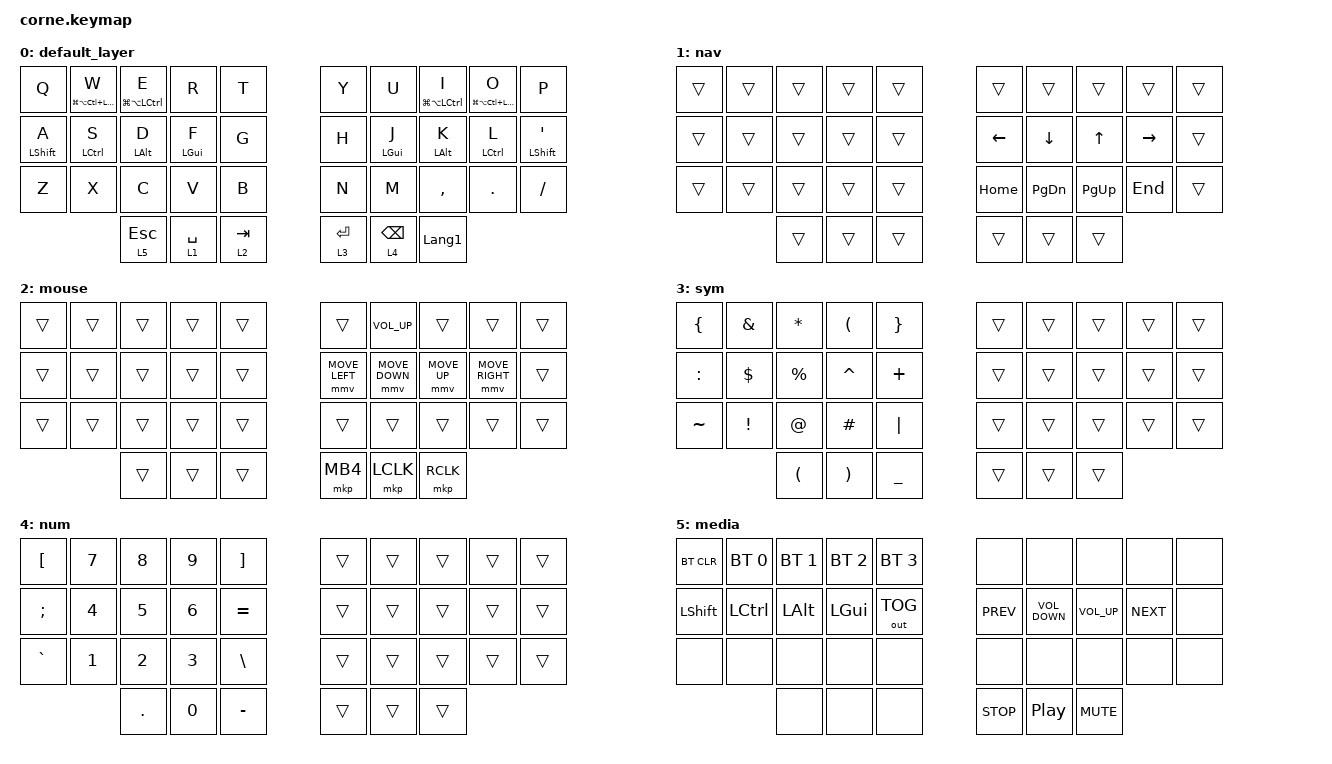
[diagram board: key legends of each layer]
/*
 * Copyright (c) 2020 The ZMK Contributors
 *
 * SPDX-License-Identifier: MIT
 */

#include <behaviors/mouse_keys.dtsi>
#include <dt-bindings/zmk/mouse.h>
#include <behaviors.dtsi>
#include <dt-bindings/zmk/bt.h>
#include <dt-bindings/zmk/keys.h>
#include <dt-bindings/zmk/outputs.h>
#include <dt-bindings/zmk/pointing.h>
#include <dt-bindings/zmk/pointing.h>

&mt {
    flavor = "balanced";
    tapping-term-ms = <150>;
    quick-tap-ms = <200>;
};

&lt {
    flavor = "balanced";
    tapping-term-ms = <150>;
    quick-tap-ms = <200>;
};

/ {
    chosen { zmk,matrix_transform = &five_column_transform; };

    combos { compatible = "zmk,combos"; };

    behaviors {
        rpi: rpi {
            compatible = "zmk,behavior-hold-tap";
            label = "RPI";
            bindings = <&kp>, <&kp>;

            #binding-cells = <2>;
            tapping-term-ms = <180>;
            quick-tap-ms = <200>;
            require-prior-idle-ms = <90>;
            flavor = "balanced";
        };
    };

    keymap {
        compatible = "zmk,keymap";

        default_layer {
            // -----------------------------------------------------------------------------------------
            // |  TAB |  Q  |  W  |  E  |  R  |  T  |   |  Y  |  U   |  I  |  O  |  P  | BKSP |
            // | CTRL |  A  |  S  |  D  |  F  |  G  |   |  H  |  J   |  K  |  L  |  ;  |  '   |
            // | SHFT |  Z  |  X  |  C  |  V  |  B  |   |  N  |  M   |  ,  |  .  |  /  | ESC  |
            //                    | GUI | LWR | SPC |   | ENT | RSE  | ALT |

            bindings = <
  &kp Q        &rpi LG(LA(LC(LSHFT))) W  &rpi LG(LA(LCTRL)) E  &kp R        &kp T        &kp Y        &kp U            &rpi LG(LA(LCTRL)) I  &rpi LG(LA(LC(LSHFT))) O  &kp P
  &mt LSHFT A  &rpi LCTRL S              &rpi LALT D           &rpi LGUI F  &kp G        &kp H        &rpi LGUI J      &rpi LALT K           &rpi LCTRL L              &mt LSHFT SINGLE_QUOTE
  &kp Z        &kp X                     &kp C                 &kp V        &kp B        &kp N        &kp M            &kp COMMA             &kp DOT                   &kp FSLH
                                         &lt 5 ESC             &lt 1 SPACE  &lt 2 TAB    &lt 3 ENTER  &lt 4 BACKSPACE  &kp LANGUAGE_1
            >;
        };

        nav {
            bindings = <
  &trans  &trans  &trans  &trans  &trans    &trans    &trans         &trans        &trans     &trans
  &trans  &trans  &trans  &trans  &trans    &kp LEFT  &kp DOWN       &kp UP_ARROW  &kp RIGHT  &trans
  &trans  &trans  &trans  &trans  &trans    &kp HOME  &kp PAGE_DOWN  &kp PG_UP     &kp END    &trans
                  &trans  &trans  &trans    &trans    &trans         &trans
            >;
        };

        mouse {
            bindings = <
  &trans  &trans  &trans  &trans  &trans    &trans          &kp C_VOLUME_UP  &trans        &trans           &trans
  &trans  &trans  &trans  &trans  &trans    &mmv MOVE_LEFT  &mmv MOVE_DOWN   &mmv MOVE_UP  &mmv MOVE_RIGHT  &trans
  &trans  &trans  &trans  &trans  &trans    &trans          &trans           &trans        &trans           &trans
                  &trans  &trans  &trans    &mkp MB4        &mkp LCLK        &mkp RCLK
            >;
        };

        sym {
            bindings = <
  &kp LBRC   &kp AMPS  &kp ASTERISK  &kp LPAR   &kp RBRC     &trans  &trans  &trans  &trans  &trans
  &kp COLON  &kp DLLR  &kp PRCNT     &kp CARET  &kp PLUS     &trans  &trans  &trans  &trans  &trans
  &kp TILDE  &kp EXCL  &kp AT        &kp HASH   &kp PIPE     &trans  &trans  &trans  &trans  &trans
                       &kp LPAR      &kp RPAR   &kp UNDER    &trans  &trans  &trans
            >;
        };

        num {
            bindings = <
  &kp LBKT   &kp N7  &kp N8   &kp N9  &kp RBKT     &trans  &trans  &trans  &trans  &trans
  &kp SEMI   &kp N4  &kp N5   &kp N6  &kp EQUAL    &trans  &trans  &trans  &trans  &trans
  &kp GRAVE  &kp N1  &kp N2   &kp N3  &kp BSLH     &trans  &trans  &trans  &trans  &trans
                     &kp DOT  &kp N0  &kp MINUS    &trans  &trans  &trans
            >;
        };

        media {
            bindings = <
  &bt BT_CLR  &bt BT_SEL 0  &bt BT_SEL 1  &bt BT_SEL 2  &bt BT_SEL 3    &none       &none              &none            &none       &none
  &kp LSHFT   &kp LCTRL     &kp LALT      &kp LGUI      &out OUT_TOG    &kp C_PREV  &kp C_VOLUME_DOWN  &kp C_VOLUME_UP  &kp C_NEXT  &none
  &none       &none         &none         &none         &none           &none       &none              &none            &none       &none
                            &none         &none         &none           &kp C_STOP  &kp C_PP           &kp C_MUTE
            >;
        };
    };
};
